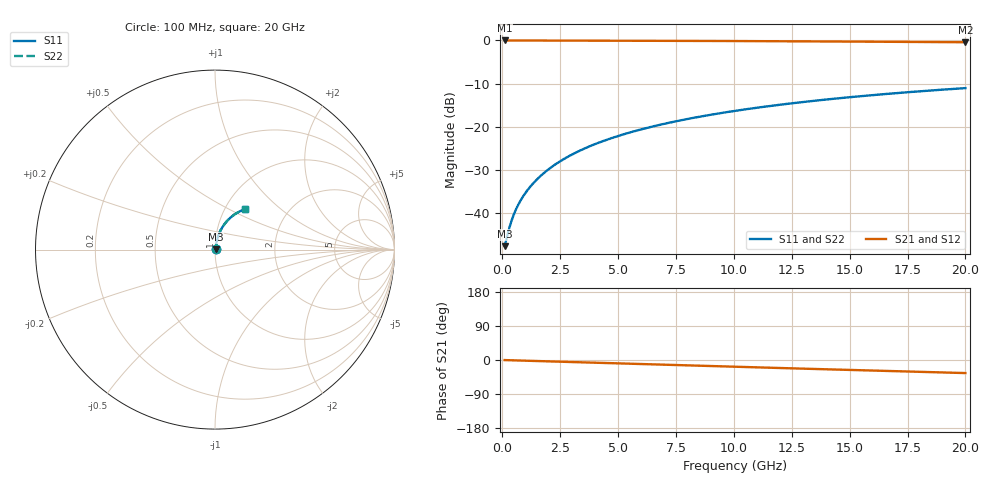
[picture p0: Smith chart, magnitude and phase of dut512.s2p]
! Touchstone file exported from HFSS 2026.1.0
!  File:  C:/ffzhzh/LocalFiles/Ansys_Project_Files/temp_train_TMRDL_512_1783006956_51716.aedt
!  Generated:  11:43:58 PM Jul  2, 2026
!  Design:  TMRDL
!  Project:  temp_train_TMRDL_512_1783006956_51716
! Variables:
!  h_bsmrdl = 2um
!  h_ox = 20um
!  h_rdl = 5um
!  h_sub = 80um
!  h_tmrdl = 2.16um
!  h_tsv = 80um
!  h_via = 3um
!  l_bsmrdl = 300um
!  l_sub = 911.02um
!  l_tmrdl = 511.02um
!  m_sub = 200um
!  pitch = 43.06um
!  r_tsv = 6um
!  s_tmrdl = 10um
!  w_bsmrdl = 18um
!  w_sub = 500um
!  w_tmrdl = 24.84um
!  x_tsv_center1 = 523.44um
!  x_tsv_center2 = 841.44um
!  x_tsv_center3 = 1377.3um
!  x_tsv_center4 = 1695.3um
!  x_tsv_center5 = 2231.16um
!  x_tsv_center6 = 2549.16um
# GHz S MA R 50.000000
! Terminal data exported
! Port[1] = TM_RDL1_1_T1
! Port[2] = TM_RDL1_1_T2
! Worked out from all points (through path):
!   200 points, 100 MHz to 20 GHz, reference 50 ohm
!   highest |S21| = -0.03 dB at 100 MHz (marker M1); lowest = -0.4 dB at 20 GHz (marker M2)
!   group delay of S21, straight-line fit = 4.79 ps
!   lowest |S11| = -47.6 dB at 100 MHz (marker M3), VSWR 1.01, Z = 50.4 + j0.183 ohm
!   |S11| at or under -10 dB: start of sweep to end of sweep
!   |S22| runs from -47.6 to -11.1 dB; largest |S21 - S12| = 3.4e-15
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0.1  0.004151 26.0  0.9963 -0.2  0.9963 -0.2  0.004151 26.0
! Gamma 0 0 0 0
! Port Impedance 50 0 50 0
0.3  0.006691 52.7  0.996 -0.6  0.996 -0.6  0.006691 52.7
0.4  0.008184 58.6  0.9958 -0.8  0.9958 -0.8  0.008184 58.6
0.5  0.009692 62.4  0.9956 -0.9  0.9956 -0.9  0.009692 62.4
0.6  0.01119 65.2  0.9955 -1.1  0.9955 -1.1  0.01119 65.2
0.7  0.01269 67.3  0.9953 -1.3  0.9953 -1.3  0.01269 67.3
0.9  0.01566 70.4  0.9951 -1.7  0.9951 -1.7  0.01566 70.4
1.2  0.02013 73.3  0.9948 -2.2  0.9948 -2.2  0.02013 73.3
1.4  0.02314 74.7  0.9946 -2.5  0.9946 -2.5  0.02314 74.7
1.7  0.02767 76.0  0.9944 -3.1  0.9944 -3.1  0.02767 76.0
2.2  0.03528 77.3  0.9941 -4.0  0.9941 -4.0  0.03528 77.3
2.8  0.04447 77.9  0.9936 -5.0  0.9936 -5.0  0.04447 77.9
3.5  0.0552 77.9  0.9929 -6.3  0.9929 -6.3  0.0552 77.9
4.2  0.06593 77.5  0.9921 -7.5  0.9921 -7.5  0.06592 77.5
5  0.07812 76.7  0.9911 -8.9  0.9911 -8.9  0.07812 76.7
5.9  0.09175 75.6  0.9897 -10.5  0.9897 -10.5  0.09175 75.7
6.8  0.1053 74.4  0.9881 -12.1  0.9881 -12.1  0.1052 74.4
8.3  0.1274 72.2  0.9851 -14.8  0.9851 -14.8  0.1274 72.2
10.1  0.1533 69.4  0.9809 -17.9  0.9809 -17.9  0.1533 69.4
13.4  0.1988 64.1  0.9718 -23.5  0.9718 -23.5  0.1987 64.1
16.7  0.241 58.7  0.9613 -29.1  0.9613 -29.1  0.241 58.8
20  0.2798 53.5  0.95 -34.5  0.95 -34.5  0.2798 53.5
